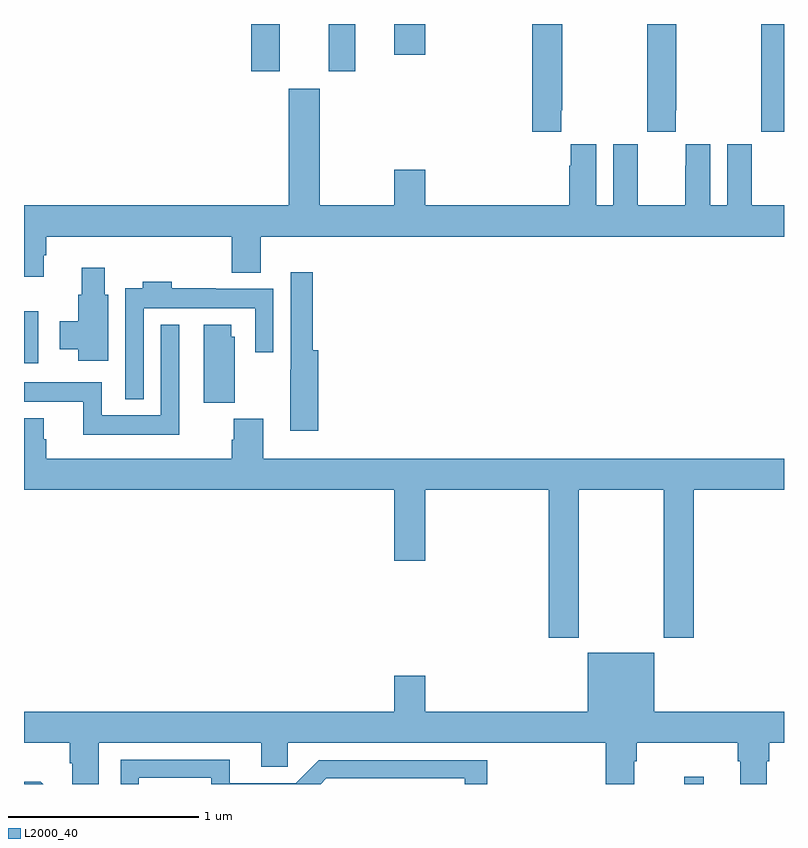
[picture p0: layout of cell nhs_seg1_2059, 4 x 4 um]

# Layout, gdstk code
import gdstk
lib = gdstk.Library(unit=1e-6, precision=1e-09)
def R(c, l, rs):  # rectangles x0, y0, x1, y1
    for r in rs: c.add(gdstk.rectangle(r[:2], r[2:], *l))
def P(c, l, *ps):  # polygons
    for p in ps: c.add(gdstk.Polygon(p, *l))
L2000_40 = (2000, 40)

nhs_seg1_2059 = lib.new_cell('nhs_seg1_2059')
R(nhs_seg1_2059, L2000_40, [(226.474,534.199,226.577,534.238), (223,536.414,223.075,536.686), (224.195,537.951,224.347,538.199), (224.603,537.951,224.743,538.199), (224.948,538.038,225.112,538.199)])
P(nhs_seg1_2059, L2000_40, [(227,538.199),(226.879,538.199),(226.879,537.745),(226.881,537.745),(226.881,537.633),(227,537.633)],
  [(226.431,537.745),(226.434,537.745),(226.434,538.199),(226.279,538.199),(226.279,537.745),(226.281,537.745),(226.281,537.633),(226.431,537.633)],
  [(225.827,537.745),(225.834,537.745),(225.834,538.199),(225.674,538.199),(225.674,537.633),(225.827,537.633)],
  [(223.105,536.982),(223.118,536.982),(223.118,537.08),(224.093,537.08),(224.093,536.891),(224.245,536.891),(224.245,537.08),(227,537.08),(227,537.244),(226.831,537.244),(226.831,537.452),(226.83,537.452),(226.83,537.565),(226.7,537.565),(226.7,537.244),(226.612,537.244),(226.612,537.565),(226.482,537.565),(226.482,537.452),(226.481,537.452),(226.481,537.244),(226.231,537.244),(226.231,537.452),(226.23,537.452),(226.23,537.565),(226.1,537.565),(226.1,537.244),(226.012,537.244),(226.012,537.565),(225.878,537.565),(225.878,537.452),(225.869,537.452),(225.869,537.244),(225.112,537.244),(225.112,537.433),(224.948,537.433),(224.948,537.244),(224.557,537.244),(224.557,537.859),(224.393,537.859),(224.393,537.244),(223,537.244),(223,536.868),(223.105,536.868)],
  [(223.444,536.775),(223.426,536.775),(223.426,536.917),(223.304,536.917),(223.304,536.775),(223.286,536.775),(223.286,536.634),(223.187,536.634),(223.187,536.486),(223.286,536.486),(223.286,536.427),(223.444,536.427)],
  [(224.549,536.482),(224.519,536.482),(224.519,536.893),(224.403,536.893),(224.403,536.378),(224.402,536.378),(224.402,536.058),(224.549,536.058)],
  [(223.629,536.702),(224.217,536.702),(224.217,536.472),(224.313,536.472),(224.313,536.806),(224.009,536.806),(224.009,536.809),(223.778,536.809),(223.778,536.842),(223.625,536.842),(223.625,536.809),(223.533,536.809),(223.533,536.225),(223.629,536.225)],
  [(223.816,536.617),(223.719,536.617),(223.719,536.14),(223.41,536.14),(223.41,536.314),(223,536.314),(223,536.21),(223.313,536.21),(223.313,536.036),(223.816,536.036)],
  [(224.11,536.553),(224.092,536.553),(224.092,536.617),(223.946,536.617),(223.946,536.206),(224.11,536.206)],
  [(225.921,535.748),(226.366,535.748),(226.366,534.969),(226.526,534.969),(226.526,535.748),(227,535.748),(227,535.912),(224.258,535.912),(224.258,536.121),(224.105,536.121),(224.105,536.012),(224.093,536.012),(224.093,535.912),(223.118,535.912),(223.118,536.013),(223.105,536.013),(223.105,536.125),(223,536.125),(223,535.748),(224.948,535.748),(224.948,535.374),(225.112,535.374),(225.112,535.748),(225.761,535.748),(225.761,534.969),(225.921,534.969)],
  [(225.968,534.58),(225.112,534.58),(225.112,534.769),(224.948,534.769),(224.948,534.58),(223,534.58),(223,534.416),(223.241,534.416),(223.241,534.307),(223.254,534.307),(223.254,534.199),(223.393,534.199),(223.393,534.416),(224.249,534.416),(224.249,534.289),(224.388,534.289),(224.388,534.416),(226.061,534.416),(226.061,534.199),(226.213,534.199),(226.213,534.32),(226.226,534.32),(226.226,534.416),(226.757,534.416),(226.757,534.32),(226.769,534.32),(226.769,534.199),(226.909,534.199),(226.909,534.32),(226.922,534.32),(226.922,534.416),(227,534.416),(227,534.58),(226.318,534.58),(226.318,534.889),(225.968,534.889)],
  [(223.605,534.231),(223.986,534.231),(223.986,534.199),(224.563,534.199),(224.592,534.228),(225.321,534.228),(225.321,534.199),(225.437,534.199),(225.437,534.324),(224.55,534.324),(224.43,534.204),(224.083,534.204),(224.083,534.327),(223.509,534.327),(223.509,534.199),(223.605,534.199)],
  [(223.087,534.212),(223,534.212),(223,534.199),(223.1,534.199)])

lib.write_gds('nhs_seg1_2059.gds')
